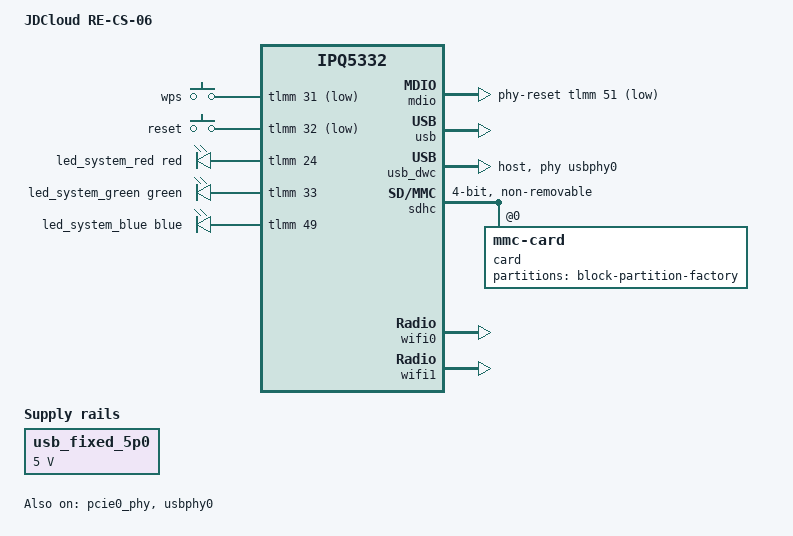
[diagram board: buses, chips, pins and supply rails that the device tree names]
// SPDX-License-Identifier: (GPL-2.0+ OR BSD-3-Clause)

/dts-v1/;

#include "ipq5332-common.dtsi"
#include "ipq5332-common-qca8386.dtsi"
#include "ipq5332-common-wifi.dtsi"

/ {
	model = "JDCloud RE-CS-06";
	compatible = "jdcloud,re-cs-06", "qcom,ipq5332";

	aliases {
		led-boot = &led_system_blue;
		led-failsafe = &led_system_red;
		led-running = &led_system_green;
		led-upgrade = &led_system_red;
	};

	keys {
		compatible = "gpio-keys";
		pinctrl-0 = <&button_pins>;
		pinctrl-names = "default";

		button-wps {
			label = "wps";
			gpios = <&tlmm 31 GPIO_ACTIVE_LOW>;
			linux,code = <KEY_WPS_BUTTON>;
			debounce-interval = <60>;
		};

		button-reset {
			label = "reset";
			gpios = <&tlmm 32 GPIO_ACTIVE_LOW>;
			linux,code = <KEY_RESTART>;
			debounce-interval = <60>;
		};
	};

	leds {
		compatible = "gpio-leds";
		pinctrl-0 = <&led_pins>;
		pinctrl-names = "default";

		led_system_red: system-red {
			color = <LED_COLOR_ID_RED>;
			function = LED_FUNCTION_STATUS;
			gpios = <&tlmm 24 GPIO_ACTIVE_HIGH>;
		};

		led_system_green: system-green {
			color = <LED_COLOR_ID_GREEN>;
			function = LED_FUNCTION_STATUS;
			gpios = <&tlmm 33 GPIO_ACTIVE_HIGH>;
		};

		led_system_blue: system-blue {
			color = <LED_COLOR_ID_BLUE>;
			function = LED_FUNCTION_STATUS;
			gpios = <&tlmm 49 GPIO_ACTIVE_HIGH>;
		};
	};

	usb_fixed_5p0: regulator-usb-5v {
		compatible = "regulator-fixed";
		regulator-name = "usb-fixed-5v";
		regulator-min-microvolt = <5000000>;
		regulator-max-microvolt = <5000000>;
		regulator-boot-on;
		regulator-always-on;
	};
};

&ref_48mhz_clk {
	clock-div = <1>;
	clock-mult = <2>;
};

&xo_clk {
	clock-frequency = <24000000>;
};

&mdio {
	status = "okay";
	phy-reset-gpios = <&tlmm 51 GPIO_ACTIVE_LOW>;
};

&qca8386 {
	/* Use the same four-PHY switch mode as RE-CS-08. The OEM instead
	 * routes PHY4 through PCS0 to PPE port 2; the copper numbering is
	 * unchanged when PHY4 is attached to the switch MAC4.
	 */
	ports {
		port@1 {
			label = "lan1";
			nvmem-cells = <&lan_macaddr 0>;
			nvmem-cell-names = "mac-address";
		};

		port@2 {
			label = "lan2";
			nvmem-cells = <&lan_macaddr 0>;
			nvmem-cell-names = "mac-address";
		};

		port@3 {
			label = "lan3";
			nvmem-cells = <&lan_macaddr 0>;
			nvmem-cell-names = "mac-address";
		};

		port@4 {
			label = "wan";
			nvmem-cells = <&wan_macaddr 0>;
			nvmem-cell-names = "mac-address";
		};
	};
};

&pcs1 {
	status = "disabled";
};

&pcie0_phy {
	status = "okay";
	compatible = "qcom,ipq5332-usb-uniphy";
	clocks = <&gcc GCC_USB0_PIPE_CLK>,
		 <&gcc GCC_USB0_PHY_CFG_AHB_CLK>,
		 <&gcc GCC_PCIE3X1_PHY_AHB_CLK>;
	clock-names = "pipe", "phy_cfg_ahb", "phy_ahb";
	resets = <&gcc GCC_USB0_PHY_BCR>;
	reset-names = "por_rst";
	#clock-cells = <0>;
	#phy-cells = <0>;
	clock-output-names = "usb0_pipe_clk_src";
	qcom,phy-usb-mux-sel = <&tcsr 0x10540>;
	vdd-supply = <&usb_fixed_5p0>;

	/delete-property/ num-lanes;
};

&usb {
	status = "okay";
	clocks = <&gcc GCC_USB0_MASTER_CLK>,
		 <&gcc GCC_USB0_SLEEP_CLK>,
		 <&gcc GCC_USB0_MOCK_UTMI_CLK>,
		 <&gcc GCC_USB0_AUX_CLK>,
		 <&gcc GCC_USB0_LFPS_CLK>;
	clock-names = "core", "sleep", "mock_utmi", "aux", "lfps";

	/delete-property/ qcom,select-utmi-as-pipe-clk;
};

&usb_dwc {
	status = "okay";
	phys = <&usbphy0>, <&pcie0_phy>;
	phy-names = "usb2-phy", "usb3-phy";
	dr_mode = "host";
	maximum-speed = "super-speed";
};

&usbphy0 {
	status = "okay";
	vdd-supply = <&usb_fixed_5p0>;
};

&sdhc {
	status = "okay";
	#address-cells = <1>;
	#size-cells = <0>;
	bus-width = <4>;
	max-frequency = <192000000>;
	mmc-ddr-1_8v;
	mmc-hs200-1_8v;
	non-removable;
	pinctrl-0 = <&sdc_pins>;
	pinctrl-names = "default";

	card@0 {
		compatible = "mmc-card";
		reg = <0>;

		block {
			compatible = "block-device";

			partitions {
				block-partition-factory {
					partname = "factory";

					nvmem-layout {
						compatible = "fixed-layout";
						#address-cells = <1>;
						#size-cells = <1>;

						lan_macaddr: macaddr@0 {
							compatible = "mac-base";
							reg = <0x0 0x6>;
							#nvmem-cell-cells = <1>;
						};

						wan_macaddr: macaddr@6 {
							compatible = "mac-base";
							reg = <0x6 0x6>;
							#nvmem-cell-cells = <1>;
						};
					};
				};
			};
		};
	};
};

&tlmm {
	button_pins: button-pins {
		pins = "gpio31", "gpio32";
		function = "gpio";
		drive-strength = <8>;
		bias-pull-up;
	};

	led_pins: led-pins {
		pins = "gpio24", "gpio33", "gpio49";
		function = "gpio";
		drive-strength = <8>;
		bias-pull-down;
	};
};

&wifi0 {
	qcom,board-id = <22>;
	nvmem-cells = <&lan_macaddr 2>;
	nvmem-cell-names = "mac-address";
};

&wifi1 {
	qcom,board-id = <2>;
	nvmem-cells = <&lan_macaddr 3>;
	nvmem-cell-names = "mac-address";
};
